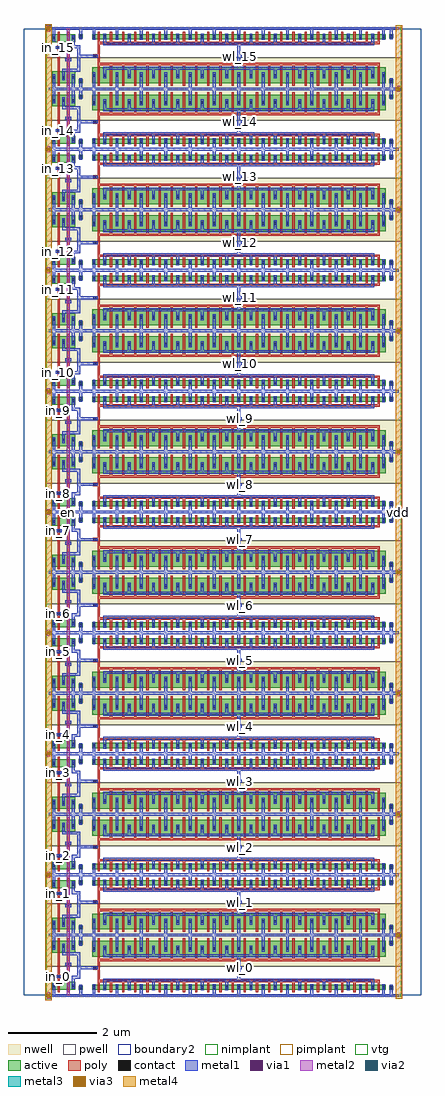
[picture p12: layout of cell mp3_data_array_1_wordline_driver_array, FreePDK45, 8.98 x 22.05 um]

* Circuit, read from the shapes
.subckt mp3_data_array_1_wordline_driver_array en gnd in_0 in_1 in_10 in_11 in_12 in_13 in_14 in_15 in_2 in_3 in_4 in_5 in_6 in_7 in_8 in_9 vdd wl_0 wl_1 wl_10 wl_11 wl_12 wl_13 wl_14 wl_15 wl_2 wl_3 wl_4 wl_5 wl_6 wl_7 wl_8 wl_9
M1 mp3_data_array_1_wordline_driver_0/mp3_data_array_1_pnand2_0/mp3_data_array_1_nmos_m1_w0_180_sm1_dactive_2/D in_0 gnd gnd nfet w=0.18u l=0.05u
M2 mp3_data_array_1_wordline_driver_1/mp3_data_array_1_pnand2_0/mp3_data_array_1_nmos_m1_w0_180_sm1_dactive_2/D in_1 gnd gnd nfet w=0.18u l=0.05u
M3 mp3_data_array_1_wordline_driver_2/mp3_data_array_1_pnand2_0/mp3_data_array_1_nmos_m1_w0_180_sm1_dactive_2/D in_2 gnd gnd nfet w=0.18u l=0.05u
M4 mp3_data_array_1_wordline_driver_3/mp3_data_array_1_pnand2_0/mp3_data_array_1_nmos_m1_w0_180_sm1_dactive_2/D in_3 gnd gnd nfet w=0.18u l=0.05u
M5 mp3_data_array_1_wordline_driver_4/mp3_data_array_1_pnand2_0/mp3_data_array_1_nmos_m1_w0_180_sm1_dactive_2/D in_4 gnd gnd nfet w=0.18u l=0.05u
M6 mp3_data_array_1_wordline_driver_5/mp3_data_array_1_pnand2_0/mp3_data_array_1_nmos_m1_w0_180_sm1_dactive_2/D in_5 gnd gnd nfet w=0.18u l=0.05u
M7 mp3_data_array_1_wordline_driver_6/mp3_data_array_1_pnand2_0/mp3_data_array_1_nmos_m1_w0_180_sm1_dactive_2/D in_6 gnd gnd nfet w=0.18u l=0.05u
M8 mp3_data_array_1_wordline_driver_7/mp3_data_array_1_pnand2_0/mp3_data_array_1_nmos_m1_w0_180_sm1_dactive_2/D in_7 gnd gnd nfet w=0.18u l=0.05u
M9 mp3_data_array_1_wordline_driver_8/mp3_data_array_1_pnand2_0/mp3_data_array_1_nmos_m1_w0_180_sm1_dactive_2/D in_8 gnd gnd nfet w=0.18u l=0.05u
M10 mp3_data_array_1_wordline_driver_9/mp3_data_array_1_pnand2_0/mp3_data_array_1_nmos_m1_w0_180_sm1_dactive_2/D in_9 gnd gnd nfet w=0.18u l=0.05u
M11 mp3_data_array_1_wordline_driver_10/mp3_data_array_1_pnand2_0/mp3_data_array_1_nmos_m1_w0_180_sm1_dactive_2/D in_10 gnd gnd nfet w=0.18u l=0.05u
M12 mp3_data_array_1_wordline_driver_11/mp3_data_array_1_pnand2_0/mp3_data_array_1_nmos_m1_w0_180_sm1_dactive_2/D in_11 gnd gnd nfet w=0.18u l=0.05u
M13 mp3_data_array_1_wordline_driver_12/mp3_data_array_1_pnand2_0/mp3_data_array_1_nmos_m1_w0_180_sm1_dactive_2/D in_12 gnd gnd nfet w=0.18u l=0.05u
M14 mp3_data_array_1_wordline_driver_13/mp3_data_array_1_pnand2_0/mp3_data_array_1_nmos_m1_w0_180_sm1_dactive_2/D in_13 gnd gnd nfet w=0.18u l=0.05u
M15 mp3_data_array_1_wordline_driver_14/mp3_data_array_1_pnand2_0/mp3_data_array_1_nmos_m1_w0_180_sm1_dactive_2/D in_14 gnd gnd nfet w=0.18u l=0.05u
M16 mp3_data_array_1_wordline_driver_15/mp3_data_array_1_pnand2_0/mp3_data_array_1_nmos_m1_w0_180_sm1_dactive_2/D in_15 gnd gnd nfet w=0.18u l=0.05u
M17 mp3_data_array_1_wordline_driver_0/mp3_data_array_1_pinv_0_1/A en mp3_data_array_1_wordline_driver_0/mp3_data_array_1_pnand2_0/mp3_data_array_1_nmos_m1_w0_180_sm1_dactive_2/D gnd nfet w=0.18u l=0.05u
M18 mp3_data_array_1_wordline_driver_1/mp3_data_array_1_pinv_0_1/A en mp3_data_array_1_wordline_driver_1/mp3_data_array_1_pnand2_0/mp3_data_array_1_nmos_m1_w0_180_sm1_dactive_2/D gnd nfet w=0.18u l=0.05u
M19 mp3_data_array_1_wordline_driver_2/mp3_data_array_1_pinv_0_1/A en mp3_data_array_1_wordline_driver_2/mp3_data_array_1_pnand2_0/mp3_data_array_1_nmos_m1_w0_180_sm1_dactive_2/D gnd nfet w=0.18u l=0.05u
M20 mp3_data_array_1_wordline_driver_3/mp3_data_array_1_pinv_0_1/A en mp3_data_array_1_wordline_driver_3/mp3_data_array_1_pnand2_0/mp3_data_array_1_nmos_m1_w0_180_sm1_dactive_2/D gnd nfet w=0.18u l=0.05u
M21 mp3_data_array_1_wordline_driver_4/mp3_data_array_1_pinv_0_1/A en mp3_data_array_1_wordline_driver_4/mp3_data_array_1_pnand2_0/mp3_data_array_1_nmos_m1_w0_180_sm1_dactive_2/D gnd nfet w=0.18u l=0.05u
M22 mp3_data_array_1_wordline_driver_5/mp3_data_array_1_pinv_0_1/A en mp3_data_array_1_wordline_driver_5/mp3_data_array_1_pnand2_0/mp3_data_array_1_nmos_m1_w0_180_sm1_dactive_2/D gnd nfet w=0.18u l=0.05u
M23 mp3_data_array_1_wordline_driver_6/mp3_data_array_1_pinv_0_1/A en mp3_data_array_1_wordline_driver_6/mp3_data_array_1_pnand2_0/mp3_data_array_1_nmos_m1_w0_180_sm1_dactive_2/D gnd nfet w=0.18u l=0.05u
M24 mp3_data_array_1_wordline_driver_7/mp3_data_array_1_pinv_0_1/A en mp3_data_array_1_wordline_driver_7/mp3_data_array_1_pnand2_0/mp3_data_array_1_nmos_m1_w0_180_sm1_dactive_2/D gnd nfet w=0.18u l=0.05u
M25 mp3_data_array_1_wordline_driver_8/mp3_data_array_1_pinv_0_1/A en mp3_data_array_1_wordline_driver_8/mp3_data_array_1_pnand2_0/mp3_data_array_1_nmos_m1_w0_180_sm1_dactive_2/D gnd nfet w=0.18u l=0.05u
M26 mp3_data_array_1_wordline_driver_9/mp3_data_array_1_pinv_0_1/A en mp3_data_array_1_wordline_driver_9/mp3_data_array_1_pnand2_0/mp3_data_array_1_nmos_m1_w0_180_sm1_dactive_2/D gnd nfet w=0.18u l=0.05u
M27 mp3_data_array_1_wordline_driver_10/mp3_data_array_1_pinv_0_1/A en mp3_data_array_1_wordline_driver_10/mp3_data_array_1_pnand2_0/mp3_data_array_1_nmos_m1_w0_180_sm1_dactive_2/D gnd nfet w=0.18u l=0.05u
M28 mp3_data_array_1_wordline_driver_11/mp3_data_array_1_pinv_0_1/A en mp3_data_array_1_wordline_driver_11/mp3_data_array_1_pnand2_0/mp3_data_array_1_nmos_m1_w0_180_sm1_dactive_2/D gnd nfet w=0.18u l=0.05u
M29 mp3_data_array_1_wordline_driver_12/mp3_data_array_1_pinv_0_1/A en mp3_data_array_1_wordline_driver_12/mp3_data_array_1_pnand2_0/mp3_data_array_1_nmos_m1_w0_180_sm1_dactive_2/D gnd nfet w=0.18u l=0.05u
M30 mp3_data_array_1_wordline_driver_13/mp3_data_array_1_pinv_0_1/A en mp3_data_array_1_wordline_driver_13/mp3_data_array_1_pnand2_0/mp3_data_array_1_nmos_m1_w0_180_sm1_dactive_2/D gnd nfet w=0.18u l=0.05u
M31 mp3_data_array_1_wordline_driver_14/mp3_data_array_1_pinv_0_1/A en mp3_data_array_1_wordline_driver_14/mp3_data_array_1_pnand2_0/mp3_data_array_1_nmos_m1_w0_180_sm1_dactive_2/D gnd nfet w=0.18u l=0.05u
M32 mp3_data_array_1_wordline_driver_15/mp3_data_array_1_pinv_0_1/A en mp3_data_array_1_wordline_driver_15/mp3_data_array_1_pnand2_0/mp3_data_array_1_nmos_m1_w0_180_sm1_dactive_2/D gnd nfet w=0.18u l=0.05u
M33 wl_0 mp3_data_array_1_wordline_driver_0/mp3_data_array_1_pinv_0_1/A gnd gnd nfet w=0.12u l=0.05u m=24
M34 wl_1 mp3_data_array_1_wordline_driver_1/mp3_data_array_1_pinv_0_1/A gnd gnd nfet w=0.12u l=0.05u m=24
M35 wl_2 mp3_data_array_1_wordline_driver_2/mp3_data_array_1_pinv_0_1/A gnd gnd nfet w=0.12u l=0.05u m=24
M36 wl_3 mp3_data_array_1_wordline_driver_3/mp3_data_array_1_pinv_0_1/A gnd gnd nfet w=0.12u l=0.05u m=24
M37 wl_4 mp3_data_array_1_wordline_driver_4/mp3_data_array_1_pinv_0_1/A gnd gnd nfet w=0.12u l=0.05u m=24
M38 wl_5 mp3_data_array_1_wordline_driver_5/mp3_data_array_1_pinv_0_1/A gnd gnd nfet w=0.12u l=0.05u m=24
M39 wl_6 mp3_data_array_1_wordline_driver_6/mp3_data_array_1_pinv_0_1/A gnd gnd nfet w=0.12u l=0.05u m=24
M40 wl_7 mp3_data_array_1_wordline_driver_7/mp3_data_array_1_pinv_0_1/A gnd gnd nfet w=0.12u l=0.05u m=24
M41 wl_8 mp3_data_array_1_wordline_driver_8/mp3_data_array_1_pinv_0_1/A gnd gnd nfet w=0.12u l=0.05u m=24
M42 wl_9 mp3_data_array_1_wordline_driver_9/mp3_data_array_1_pinv_0_1/A gnd gnd nfet w=0.12u l=0.05u m=24
M43 wl_10 mp3_data_array_1_wordline_driver_10/mp3_data_array_1_pinv_0_1/A gnd gnd nfet w=0.12u l=0.05u m=24
M44 wl_11 mp3_data_array_1_wordline_driver_11/mp3_data_array_1_pinv_0_1/A gnd gnd nfet w=0.12u l=0.05u m=24
M45 wl_12 mp3_data_array_1_wordline_driver_12/mp3_data_array_1_pinv_0_1/A gnd gnd nfet w=0.12u l=0.05u m=24
M46 wl_13 mp3_data_array_1_wordline_driver_13/mp3_data_array_1_pinv_0_1/A gnd gnd nfet w=0.12u l=0.05u m=24
M47 wl_14 mp3_data_array_1_wordline_driver_14/mp3_data_array_1_pinv_0_1/A gnd gnd nfet w=0.12u l=0.05u m=24
M48 wl_15 mp3_data_array_1_wordline_driver_15/mp3_data_array_1_pinv_0_1/A gnd gnd nfet w=0.12u l=0.05u m=24
M49 mp3_data_array_1_wordline_driver_0/mp3_data_array_1_pinv_0_1/A in_0 vdd vdd pfet w=0.27u l=0.05u
M50 mp3_data_array_1_wordline_driver_1/mp3_data_array_1_pinv_0_1/A in_1 vdd vdd pfet w=0.27u l=0.05u
M51 mp3_data_array_1_wordline_driver_2/mp3_data_array_1_pinv_0_1/A in_2 vdd vdd pfet w=0.27u l=0.05u
M52 mp3_data_array_1_wordline_driver_3/mp3_data_array_1_pinv_0_1/A in_3 vdd vdd pfet w=0.27u l=0.05u
M53 mp3_data_array_1_wordline_driver_4/mp3_data_array_1_pinv_0_1/A in_4 vdd vdd pfet w=0.27u l=0.05u
M54 mp3_data_array_1_wordline_driver_5/mp3_data_array_1_pinv_0_1/A in_5 vdd vdd pfet w=0.27u l=0.05u
M55 mp3_data_array_1_wordline_driver_6/mp3_data_array_1_pinv_0_1/A in_6 vdd vdd pfet w=0.27u l=0.05u
M56 mp3_data_array_1_wordline_driver_7/mp3_data_array_1_pinv_0_1/A in_7 vdd vdd pfet w=0.27u l=0.05u
M57 mp3_data_array_1_wordline_driver_8/mp3_data_array_1_pinv_0_1/A in_8 vdd vdd pfet w=0.27u l=0.05u
M58 mp3_data_array_1_wordline_driver_9/mp3_data_array_1_pinv_0_1/A in_9 vdd vdd pfet w=0.27u l=0.05u
M59 mp3_data_array_1_wordline_driver_10/mp3_data_array_1_pinv_0_1/A in_10 vdd vdd pfet w=0.27u l=0.05u
M60 mp3_data_array_1_wordline_driver_11/mp3_data_array_1_pinv_0_1/A in_11 vdd vdd pfet w=0.27u l=0.05u
M61 mp3_data_array_1_wordline_driver_12/mp3_data_array_1_pinv_0_1/A in_12 vdd vdd pfet w=0.27u l=0.05u
M62 mp3_data_array_1_wordline_driver_13/mp3_data_array_1_pinv_0_1/A in_13 vdd vdd pfet w=0.27u l=0.05u
M63 mp3_data_array_1_wordline_driver_14/mp3_data_array_1_pinv_0_1/A in_14 vdd vdd pfet w=0.27u l=0.05u
M64 mp3_data_array_1_wordline_driver_15/mp3_data_array_1_pinv_0_1/A in_15 vdd vdd pfet w=0.27u l=0.05u
M65 vdd en mp3_data_array_1_wordline_driver_0/mp3_data_array_1_pinv_0_1/A vdd pfet w=0.27u l=0.05u
M66 vdd en mp3_data_array_1_wordline_driver_1/mp3_data_array_1_pinv_0_1/A vdd pfet w=0.27u l=0.05u
M67 vdd en mp3_data_array_1_wordline_driver_2/mp3_data_array_1_pinv_0_1/A vdd pfet w=0.27u l=0.05u
M68 vdd en mp3_data_array_1_wordline_driver_3/mp3_data_array_1_pinv_0_1/A vdd pfet w=0.27u l=0.05u
M69 vdd en mp3_data_array_1_wordline_driver_4/mp3_data_array_1_pinv_0_1/A vdd pfet w=0.27u l=0.05u
M70 vdd en mp3_data_array_1_wordline_driver_5/mp3_data_array_1_pinv_0_1/A vdd pfet w=0.27u l=0.05u
M71 vdd en mp3_data_array_1_wordline_driver_6/mp3_data_array_1_pinv_0_1/A vdd pfet w=0.27u l=0.05u
M72 vdd en mp3_data_array_1_wordline_driver_7/mp3_data_array_1_pinv_0_1/A vdd pfet w=0.27u l=0.05u
M73 vdd en mp3_data_array_1_wordline_driver_8/mp3_data_array_1_pinv_0_1/A vdd pfet w=0.27u l=0.05u
M74 vdd en mp3_data_array_1_wordline_driver_9/mp3_data_array_1_pinv_0_1/A vdd pfet w=0.27u l=0.05u
M75 vdd en mp3_data_array_1_wordline_driver_10/mp3_data_array_1_pinv_0_1/A vdd pfet w=0.27u l=0.05u
M76 vdd en mp3_data_array_1_wordline_driver_11/mp3_data_array_1_pinv_0_1/A vdd pfet w=0.27u l=0.05u
M77 vdd en mp3_data_array_1_wordline_driver_12/mp3_data_array_1_pinv_0_1/A vdd pfet w=0.27u l=0.05u
M78 vdd en mp3_data_array_1_wordline_driver_13/mp3_data_array_1_pinv_0_1/A vdd pfet w=0.27u l=0.05u
M79 vdd en mp3_data_array_1_wordline_driver_14/mp3_data_array_1_pinv_0_1/A vdd pfet w=0.27u l=0.05u
M80 vdd en mp3_data_array_1_wordline_driver_15/mp3_data_array_1_pinv_0_1/A vdd pfet w=0.27u l=0.05u
M81 wl_0 mp3_data_array_1_wordline_driver_0/mp3_data_array_1_pinv_0_1/A vdd vdd pfet w=0.36u l=0.05u m=24
M82 wl_1 mp3_data_array_1_wordline_driver_1/mp3_data_array_1_pinv_0_1/A vdd vdd pfet w=0.36u l=0.05u m=24
M83 wl_2 mp3_data_array_1_wordline_driver_2/mp3_data_array_1_pinv_0_1/A vdd vdd pfet w=0.36u l=0.05u m=24
M84 wl_3 mp3_data_array_1_wordline_driver_3/mp3_data_array_1_pinv_0_1/A vdd vdd pfet w=0.36u l=0.05u m=24
M85 wl_4 mp3_data_array_1_wordline_driver_4/mp3_data_array_1_pinv_0_1/A vdd vdd pfet w=0.36u l=0.05u m=24
M86 wl_5 mp3_data_array_1_wordline_driver_5/mp3_data_array_1_pinv_0_1/A vdd vdd pfet w=0.36u l=0.05u m=24
M87 wl_6 mp3_data_array_1_wordline_driver_6/mp3_data_array_1_pinv_0_1/A vdd vdd pfet w=0.36u l=0.05u m=24
M88 wl_7 mp3_data_array_1_wordline_driver_7/mp3_data_array_1_pinv_0_1/A vdd vdd pfet w=0.36u l=0.05u m=24
M89 wl_8 mp3_data_array_1_wordline_driver_8/mp3_data_array_1_pinv_0_1/A vdd vdd pfet w=0.36u l=0.05u m=24
M90 wl_9 mp3_data_array_1_wordline_driver_9/mp3_data_array_1_pinv_0_1/A vdd vdd pfet w=0.36u l=0.05u m=24
M91 wl_10 mp3_data_array_1_wordline_driver_10/mp3_data_array_1_pinv_0_1/A vdd vdd pfet w=0.36u l=0.05u m=24
M92 wl_11 mp3_data_array_1_wordline_driver_11/mp3_data_array_1_pinv_0_1/A vdd vdd pfet w=0.36u l=0.05u m=24
M93 wl_12 mp3_data_array_1_wordline_driver_12/mp3_data_array_1_pinv_0_1/A vdd vdd pfet w=0.36u l=0.05u m=24
M94 wl_13 mp3_data_array_1_wordline_driver_13/mp3_data_array_1_pinv_0_1/A vdd vdd pfet w=0.36u l=0.05u m=24
M95 wl_14 mp3_data_array_1_wordline_driver_14/mp3_data_array_1_pinv_0_1/A vdd vdd pfet w=0.36u l=0.05u m=24
M96 wl_15 mp3_data_array_1_wordline_driver_15/mp3_data_array_1_pinv_0_1/A vdd vdd pfet w=0.36u l=0.05u m=24
.ends

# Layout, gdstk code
import gdstk
lib = gdstk.Library(unit=1e-6, precision=5e-10)
def R(c, l, rs):  # rectangles x0, y0, x1, y1
    for r in rs: c.add(gdstk.rectangle(r[:2], r[2:], *l))
def A(c, l, x, y, w, h, nx, ny, dx, dy):  # array of equal rectangles
    R(c, l, [(x+i*dx, y+j*dy, x+i*dx+w, y+j*dy+h) for i in range(nx) for j in range(ny)])
active = (1, 0)
pwell = (2, 0)
nwell = (3, 0)
nimplant = (4, 0)
pimplant = (5, 0)
vtg = (6, 0)
poly = (9, 0)
contact = (10, 0)
metal1 = (11, 0)
via1 = (12, 0)
metal2 = (13, 0)
via2 = (14, 0)
metal3 = (15, 0)
via3 = (16, 0)
metal4 = (17, 0)
boundary2 = (239, 0)

mp3_data_array_1_contact = lib.new_cell('mp3_data_array_1_contact_11')
R(mp3_data_array_1_contact, active, [(0,0.0225,0.09,0.1125)])
R(mp3_data_array_1_contact, nwell, [(-0.055,-0.0325,0.145,0.1675)])
R(mp3_data_array_1_contact, pimplant, [(0,0.0225,0.09,0.1125)])
R(mp3_data_array_1_contact, contact, [(0.0125,0.035,0.0775,0.1)])
R(mp3_data_array_1_contact, metal1, [(0.0125,0,0.0775,0.135)])
R(mp3_data_array_1_contact, boundary2, [(-0.055,-0.0325,0.145,0.1675)])

mp3_data_array_1_pmos_m1 = lib.new_cell('mp3_data_array_1_pmos_m1_w0_270_sm1_dm1')
R(mp3_data_array_1_pmos_m1, active, [(0,0,0.305,0.27)])
R(mp3_data_array_1_pmos_m1, nwell, [(-0.08,-0.08,0.385,0.35)])
R(mp3_data_array_1_pmos_m1, pimplant, [(0,0,0.305,0.27)])
R(mp3_data_array_1_pmos_m1, vtg, [(-0.08,-0.08,0.385,0.35)])
R(mp3_data_array_1_pmos_m1, poly, [(0.1275,-0.055,0.1775,0.325), (0.1275,-0.055,0.1775,0.325)])
R(mp3_data_array_1_pmos_m1, metal1, [(0.0125,0.0675,0.0775,0.2025), (0.2275,0.0675,0.2925,0.2025)])
R(mp3_data_array_1_pmos_m1, boundary2, [(-0.08,-0.08,0.385,0.35)])
mp3_data_array_1_pmos_m1.add(gdstk.Reference(mp3_data_array_1_contact, (0,0.0675)))
mp3_data_array_1_pmos_m1.add(gdstk.Reference(mp3_data_array_1_contact, (0.215,0.0675)))
mp3_data_array_1_pmos_m1.add(gdstk.Label('G', (0.1525,0.135), layer=9, texttype=0))
mp3_data_array_1_pmos_m1.add(gdstk.Label('S', (0.045,0.135), layer=11, texttype=0))
mp3_data_array_1_pmos_m1.add(gdstk.Label('D', (0.26,0.135), layer=11, texttype=0))

c_mp3_data_array_1_contact = lib.new_cell('mp3_data_array_1_contact_10')
R(c_mp3_data_array_1_contact, active, [(0,0.0225,0.09,0.1125)])
R(c_mp3_data_array_1_contact, pwell, [(-0.055,-0.0325,0.145,0.1675)])
R(c_mp3_data_array_1_contact, nimplant, [(0,0.0225,0.09,0.1125)])
R(c_mp3_data_array_1_contact, contact, [(0.0125,0.035,0.0775,0.1)])
R(c_mp3_data_array_1_contact, metal1, [(0.0125,0,0.0775,0.135)])
R(c_mp3_data_array_1_contact, boundary2, [(-0.055,-0.0325,0.145,0.1675)])

mp3_data_array_1_nmos_m1 = lib.new_cell('mp3_data_array_1_nmos_m1_w0_180_sm1_dactive')
R(mp3_data_array_1_nmos_m1, active, [(0,0,0.305,0.18), (0.215,0.045,0.305,0.135)])
R(mp3_data_array_1_nmos_m1, pwell, [(-0.08,-0.08,0.385,0.26)])
R(mp3_data_array_1_nmos_m1, nimplant, [(0,0,0.305,0.18)])
R(mp3_data_array_1_nmos_m1, vtg, [(-0.08,-0.08,0.385,0.26)])
R(mp3_data_array_1_nmos_m1, poly, [(0.1275,-0.055,0.1775,0.235), (0.1275,-0.055,0.1775,0.235)])
R(mp3_data_array_1_nmos_m1, metal1, [(0.0125,0.0225,0.0775,0.1575)])
R(mp3_data_array_1_nmos_m1, boundary2, [(-0.08,-0.08,0.385,0.26)])
mp3_data_array_1_nmos_m1.add(gdstk.Reference(c_mp3_data_array_1_contact, (0,0.0225)))
mp3_data_array_1_nmos_m1.add(gdstk.Label('G', (0.1525,0.09), layer=9, texttype=0))
mp3_data_array_1_nmos_m1.add(gdstk.Label('S', (0.045,0.09), layer=11, texttype=0))
mp3_data_array_1_nmos_m1.add(gdstk.Label('D', (0.26,0.09), layer=1, texttype=0))

c_mp3_data_array_1_nmos_m1 = lib.new_cell('mp3_data_array_1_nmos_m1_w0_180_sactive_dm1')
R(c_mp3_data_array_1_nmos_m1, active, [(0,0,0.305,0.18), (0,0.045,0.09,0.135)])
R(c_mp3_data_array_1_nmos_m1, pwell, [(-0.08,-0.08,0.385,0.26)])
R(c_mp3_data_array_1_nmos_m1, nimplant, [(0,0,0.305,0.18)])
R(c_mp3_data_array_1_nmos_m1, vtg, [(-0.08,-0.08,0.385,0.26)])
R(c_mp3_data_array_1_nmos_m1, poly, [(0.1275,-0.055,0.1775,0.235), (0.1275,-0.055,0.1775,0.235)])
R(c_mp3_data_array_1_nmos_m1, metal1, [(0.2275,0.0225,0.2925,0.1575)])
R(c_mp3_data_array_1_nmos_m1, boundary2, [(-0.08,-0.08,0.385,0.26)])
c_mp3_data_array_1_nmos_m1.add(gdstk.Reference(c_mp3_data_array_1_contact, (0.215,0.0225)))
c_mp3_data_array_1_nmos_m1.add(gdstk.Label('G', (0.1525,0.09), layer=9, texttype=0))
c_mp3_data_array_1_nmos_m1.add(gdstk.Label('S', (0.045,0.09), layer=1, texttype=0))
c_mp3_data_array_1_nmos_m1.add(gdstk.Label('D', (0.26,0.09), layer=11, texttype=0))

c_mp3_data_array_1_contact_ = lib.new_cell('mp3_data_array_1_contact_12')
R(c_mp3_data_array_1_contact_, active, [(0,0.0225,0.09,0.1125)])
R(c_mp3_data_array_1_contact_, nwell, [(-0.055,-0.0325,0.145,0.1675)])
R(c_mp3_data_array_1_contact_, nimplant, [(0,0.0225,0.09,0.1125)])
R(c_mp3_data_array_1_contact_, contact, [(0.0125,0.035,0.0775,0.1)])
R(c_mp3_data_array_1_contact_, metal1, [(0.0125,0,0.0775,0.135)])
R(c_mp3_data_array_1_contact_, boundary2, [(-0.055,-0.0325,0.145,0.1675)])

c_mp3_data_array_1_contact__ = lib.new_cell('mp3_data_array_1_contact_13')
R(c_mp3_data_array_1_contact__, active, [(0,0.0225,0.09,0.1125)])
R(c_mp3_data_array_1_contact__, pwell, [(-0.055,-0.0325,0.145,0.1675)])
R(c_mp3_data_array_1_contact__, pimplant, [(0,0.0225,0.09,0.1125)])
R(c_mp3_data_array_1_contact__, contact, [(0.0125,0.035,0.0775,0.1)])
R(c_mp3_data_array_1_contact__, metal1, [(0.0125,0,0.0775,0.135)])
R(c_mp3_data_array_1_contact__, boundary2, [(-0.055,-0.0325,0.145,0.1675)])

c_mp3_data_array_1_contact___ = lib.new_cell('mp3_data_array_1_contact_14')
R(c_mp3_data_array_1_contact___, poly, [(0.03,0,0.105,0.075)])
R(c_mp3_data_array_1_contact___, contact, [(0.035,0.005,0.1,0.07)])
R(c_mp3_data_array_1_contact___, metal1, [(0,0.005,0.135,0.07)])
R(c_mp3_data_array_1_contact___, boundary2, [(0,0,0.135,0.075)])

mp3_data_array_1_pnand2 = lib.new_cell('mp3_data_array_1_pnand2')
R(mp3_data_array_1_pnand2, pwell, [(-0.055,-0.0325,0.9575,0.655)])
R(mp3_data_array_1_pnand2, nwell, [(-0.055,0.655,0.9575,1.4)])
R(mp3_data_array_1_pnand2, vtg, [(-0.055,-0.0325,0.9575,0.655), (-0.055,0.655,0.9575,1.4)])
R(mp3_data_array_1_pnand2, poly, [(0.2075,0.36,0.2575,0.915), (0.4225,0.36,0.4725,0.915), (0.2075,0.39,0.2325,0.465), (0.4225,0.67,0.4475,0.745)])
R(mp3_data_array_1_pnand2, metal1, [(0,-0.0325,0.9025,0.0325), (0.0925,-0.0325,0.1575,0.1475), (0.6925,0,0.7575,0.17), (0.5225,0.2825,0.5875,0.4125), (0.5225,0.38,0.5875,0.445), (0.555,0.38,0.685,0.445), (0.6525,0.38,0.7175,0.445), (0.165,0.395,0.3,0.46), (0.6525,0.4125,0.7175,0.94), (0.38,0.675,0.515,0.74), (0.3075,0.9075,0.3725,0.9725), (0.34,0.9075,0.685,0.9725), (0.6525,0.9075,0.7175,0.9725), (0.3075,0.94,0.3725,1.0375), (0.0925,1.0375,0.1575,1.3975), (0.5225,1.0375,0.5875,1.3975), (0.6925,1.195,0.7575,1.365), (0,1.3325,0.9025,1.3975)])
R(mp3_data_array_1_pnand2, boundary2, [(0,0,0.9025,1.365), (0,0,0.9025,1.365)])
mp3_data_array_1_pnand2.add(gdstk.Reference(mp3_data_array_1_pmos_m1, (0.08,0.97)))
mp3_data_array_1_pnand2.add(gdstk.Reference(mp3_data_array_1_pmos_m1, (0.295,0.97)))
mp3_data_array_1_pnand2.add(gdstk.Reference(mp3_data_array_1_nmos_m1, (0.08,0.125)))
mp3_data_array_1_pnand2.add(gdstk.Reference(c_mp3_data_array_1_nmos_m1, (0.295,0.125)))
mp3_data_array_1_pnand2.add(gdstk.Reference(c_mp3_data_array_1_contact_, (0.68,1.1275)))
mp3_data_array_1_pnand2.add(gdstk.Reference(c_mp3_data_array_1_contact__, (0.68,0.1025)))
mp3_data_array_1_pnand2.add(gdstk.Reference(c_mp3_data_array_1_contact___, (0.165,0.39)))
mp3_data_array_1_pnand2.add(gdstk.Reference(c_mp3_data_array_1_contact___, (0.38,0.67)))
mp3_data_array_1_pnand2.add(gdstk.Label('Z', (0.685,0.94), layer=11, texttype=0))
mp3_data_array_1_pnand2.add(gdstk.Label('gnd', (0.451,0), layer=11, texttype=0))
mp3_data_array_1_pnand2.add(gdstk.Label('vdd', (0.451,1.365), layer=11, texttype=0))
mp3_data_array_1_pnand2.add(gdstk.Label('A', (0.2325,0.4275), layer=11, texttype=0))
mp3_data_array_1_pnand2.add(gdstk.Label('B', (0.4475,0.7075), layer=11, texttype=0))

mp3_data_array_1_pmos_m2 = lib.new_cell('mp3_data_array_1_pmos_m24_w0_360_sm1_dm1_da_p')
R(mp3_data_array_1_pmos_m2, active, [(0,0,6.63,0.36)])
R(mp3_data_array_1_pmos_m2, nwell, [(-0.08,-0.08,6.71,0.44)])
R(mp3_data_array_1_pmos_m2, pimplant, [(0,0,6.63,0.36)])
R(mp3_data_array_1_pmos_m2, vtg, [(-0.08,-0.08,6.71,0.44)])
A(mp3_data_array_1_pmos_m2, poly, 0.1275, -0.055, 0.05, 0.47, 24, 1, 0.275, 0)
R(mp3_data_array_1_pmos_m2, poly, [(0.1275,-0.105,6.5025,-0.055)])
A(mp3_data_array_1_pmos_m2, metal1, 0.2575, 0.015, 0.065, 0.165, 12, 1, 0.55, 0)
A(mp3_data_array_1_pmos_m2, metal1, 0.5325, 0.1125, 0.065, 0.135, 11, 1, 0.55, 0)
R(mp3_data_array_1_pmos_m2, metal1, [(0.2575,-0.0175,6.3725,0.0475), (0.0125,0.1125,0.0775,0.2475), (6.5525,0.1125,6.6175,0.2475)])
R(mp3_data_array_1_pmos_m2, boundary2, [(-0.08,-0.105,6.71,0.44)])
mp3_data_array_1_pmos_m2.add(gdstk.Reference(mp3_data_array_1_contact, (0,0.1125)))
mp3_data_array_1_pmos_m2.add(gdstk.Reference(mp3_data_array_1_contact, (0.245,0.1125)))
mp3_data_array_1_pmos_m2.add(gdstk.Reference(mp3_data_array_1_contact, (0.52,0.1125)))
mp3_data_array_1_pmos_m2.add(gdstk.Reference(mp3_data_array_1_contact, (0.795,0.1125)))
mp3_data_array_1_pmos_m2.add(gdstk.Reference(mp3_data_array_1_contact, (1.07,0.1125)))
mp3_data_array_1_pmos_m2.add(gdstk.Reference(mp3_data_array_1_contact, (1.345,0.1125)))
mp3_data_array_1_pmos_m2.add(gdstk.Reference(mp3_data_array_1_contact, (1.62,0.1125)))
mp3_data_array_1_pmos_m2.add(gdstk.Reference(mp3_data_array_1_contact, (1.895,0.1125)))
mp3_data_array_1_pmos_m2.add(gdstk.Reference(mp3_data_array_1_contact, (2.17,0.1125)))
mp3_data_array_1_pmos_m2.add(gdstk.Reference(mp3_data_array_1_contact, (2.445,0.1125)))
mp3_data_array_1_pmos_m2.add(gdstk.Reference(mp3_data_array_1_contact, (2.72,0.1125)))
mp3_data_array_1_pmos_m2.add(gdstk.Reference(mp3_data_array_1_contact, (2.995,0.1125)))
mp3_data_array_1_pmos_m2.add(gdstk.Reference(mp3_data_array_1_contact, (3.27,0.1125)))
mp3_data_array_1_pmos_m2.add(gdstk.Reference(mp3_data_array_1_contact, (3.545,0.1125)))
mp3_data_array_1_pmos_m2.add(gdstk.Reference(mp3_data_array_1_contact, (3.82,0.1125)))
mp3_data_array_1_pmos_m2.add(gdstk.Reference(mp3_data_array_1_contact, (4.095,0.1125)))
mp3_data_array_1_pmos_m2.add(gdstk.Reference(mp3_data_array_1_contact, (4.37,0.1125)))
mp3_data_array_1_pmos_m2.add(gdstk.Reference(mp3_data_array_1_contact, (4.645,0.1125)))
mp3_data_array_1_pmos_m2.add(gdstk.Reference(mp3_data_array_1_contact, (4.92,0.1125)))
mp3_data_array_1_pmos_m2.add(gdstk.Reference(mp3_data_array_1_contact, (5.195,0.1125)))
mp3_data_array_1_pmos_m2.add(gdstk.Reference(mp3_data_array_1_contact, (5.47,0.1125)))
mp3_data_array_1_pmos_m2.add(gdstk.Reference(mp3_data_array_1_contact, (5.745,0.1125)))
mp3_data_array_1_pmos_m2.add(gdstk.Reference(mp3_data_array_1_contact, (6.02,0.1125)))
mp3_data_array_1_pmos_m2.add(gdstk.Reference(mp3_data_array_1_contact, (6.295,0.1125)))
mp3_data_array_1_pmos_m2.add(gdstk.Reference(mp3_data_array_1_contact, (6.54,0.1125)))
mp3_data_array_1_pmos_m2.add(gdstk.Label('G', (3.315,-0.08), layer=9, texttype=0))
mp3_data_array_1_pmos_m2.add(gdstk.Label('S', (3.315,0.18), layer=11, texttype=0))
mp3_data_array_1_pmos_m2.add(gdstk.Label('S', (6.065,0.18), layer=11, texttype=0))
mp3_data_array_1_pmos_m2.add(gdstk.Label('S', (6.585,0.18), layer=11, texttype=0))
mp3_data_array_1_pmos_m2.add(gdstk.Label('S', (1.665,0.18), layer=11, texttype=0))
mp3_data_array_1_pmos_m2.add(gdstk.Label('S', (4.415,0.18), layer=11, texttype=0))
mp3_data_array_1_pmos_m2.add(gdstk.Label('S', (1.115,0.18), layer=11, texttype=0))
mp3_data_array_1_pmos_m2.add(gdstk.Label('S', (0.565,0.18), layer=11, texttype=0))
mp3_data_array_1_pmos_m2.add(gdstk.Label('S', (3.865,0.18), layer=11, texttype=0))
mp3_data_array_1_pmos_m2.add(gdstk.Label('S', (5.515,0.18), layer=11, texttype=0))
mp3_data_array_1_pmos_m2.add(gdstk.Label('S', (4.965,0.18), layer=11, texttype=0))
mp3_data_array_1_pmos_m2.add(gdstk.Label('S', (2.215,0.18), layer=11, texttype=0))
mp3_data_array_1_pmos_m2.add(gdstk.Label('S', (2.765,0.18), layer=11, texttype=0))
mp3_data_array_1_pmos_m2.add(gdstk.Label('S', (0.045,0.18), layer=11, texttype=0))
mp3_data_array_1_pmos_m2.add(gdstk.Label('D', (3.315,0.015), layer=11, texttype=0))

mp3_data_array_1_nmos_m2 = lib.new_cell('mp3_data_array_1_nmos_m24_w0_120_sm1_dm1_da_p')
R(mp3_data_array_1_nmos_m2, active, [(0,0,6.63,0.12)])
R(mp3_data_array_1_nmos_m2, pwell, [(-0.08,-0.08,6.71,0.2)])
R(mp3_data_array_1_nmos_m2, nimplant, [(0,0,6.63,0.12)])
R(mp3_data_array_1_nmos_m2, vtg, [(-0.08,-0.08,6.71,0.2)])
A(mp3_data_array_1_nmos_m2, poly, 0.1275, -0.055, 0.05, 0.23, 24, 1, 0.275, 0)
R(mp3_data_array_1_nmos_m2, poly, [(0.1275,0.175,6.5025,0.225)])
A(mp3_data_array_1_nmos_m2, metal1, 0.5325, -0.0075, 0.065, 0.135, 11, 1, 0.55, 0)
A(mp3_data_array_1_nmos_m2, metal1, 0.2575, 0.06, 0.065, 0.165, 12, 1, 0.55, 0)
R(mp3_data_array_1_nmos_m2, metal1, [(0.0125,-0.0075,0.0775,0.1275), (6.5525,-0.0075,6.6175,0.1275), (0.2575,0.1925,6.3725,0.2575)])
R(mp3_data_array_1_nmos_m2, boundary2, [(-0.08,-0.08,6.71,0.2575)])
mp3_data_array_1_nmos_m2.add(gdstk.Reference(c_mp3_data_array_1_contact, (0,-0.0075)))
mp3_data_array_1_nmos_m2.add(gdstk.Reference(c_mp3_data_array_1_contact, (0.245,-0.0075)))
mp3_data_array_1_nmos_m2.add(gdstk.Reference(c_mp3_data_array_1_contact, (0.52,-0.0075)))
mp3_data_array_1_nmos_m2.add(gdstk.Reference(c_mp3_data_array_1_contact, (0.795,-0.0075)))
mp3_data_array_1_nmos_m2.add(gdstk.Reference(c_mp3_data_array_1_contact, (1.07,-0.0075)))
mp3_data_array_1_nmos_m2.add(gdstk.Reference(c_mp3_data_array_1_contact, (1.345,-0.0075)))
mp3_data_array_1_nmos_m2.add(gdstk.Reference(c_mp3_data_array_1_contact, (1.62,-0.0075)))
mp3_data_array_1_nmos_m2.add(gdstk.Reference(c_mp3_data_array_1_contact, (1.895,-0.0075)))
mp3_data_array_1_nmos_m2.add(gdstk.Reference(c_mp3_data_array_1_contact, (2.17,-0.0075)))
mp3_data_array_1_nmos_m2.add(gdstk.Reference(c_mp3_data_array_1_contact, (2.445,-0.0075)))
mp3_data_array_1_nmos_m2.add(gdstk.Reference(c_mp3_data_array_1_contact, (2.72,-0.0075)))
mp3_data_array_1_nmos_m2.add(gdstk.Reference(c_mp3_data_array_1_contact, (2.995,-0.0075)))
mp3_data_array_1_nmos_m2.add(gdstk.Reference(c_mp3_data_array_1_contact, (3.27,-0.0075)))
mp3_data_array_1_nmos_m2.add(gdstk.Reference(c_mp3_data_array_1_contact, (3.545,-0.0075)))
mp3_data_array_1_nmos_m2.add(gdstk.Reference(c_mp3_data_array_1_contact, (3.82,-0.0075)))
mp3_data_array_1_nmos_m2.add(gdstk.Reference(c_mp3_data_array_1_contact, (4.095,-0.0075)))
mp3_data_array_1_nmos_m2.add(gdstk.Reference(c_mp3_data_array_1_contact, (4.37,-0.0075)))
mp3_data_array_1_nmos_m2.add(gdstk.Reference(c_mp3_data_array_1_contact, (4.645,-0.0075)))
mp3_data_array_1_nmos_m2.add(gdstk.Reference(c_mp3_data_array_1_contact, (4.92,-0.0075)))
mp3_data_array_1_nmos_m2.add(gdstk.Reference(c_mp3_data_array_1_contact, (5.195,-0.0075)))
mp3_data_array_1_nmos_m2.add(gdstk.Reference(c_mp3_data_array_1_contact, (5.47,-0.0075)))
mp3_data_array_1_nmos_m2.add(gdstk.Reference(c_mp3_data_array_1_contact, (5.745,-0.0075)))
mp3_data_array_1_nmos_m2.add(gdstk.Reference(c_mp3_data_array_1_contact, (6.02,-0.0075)))
mp3_data_array_1_nmos_m2.add(gdstk.Reference(c_mp3_data_array_1_contact, (6.295,-0.0075)))
mp3_data_array_1_nmos_m2.add(gdstk.Reference(c_mp3_data_array_1_contact, (6.54,-0.0075)))
mp3_data_array_1_nmos_m2.add(gdstk.Label('G', (3.315,0.2), layer=9, texttype=0))
mp3_data_array_1_nmos_m2.add(gdstk.Label('S', (6.585,0.06), layer=11, texttype=0))
mp3_data_array_1_nmos_m2.add(gdstk.Label('S', (2.215,0.06), layer=11, texttype=0))
mp3_data_array_1_nmos_m2.add(gdstk.Label('S', (2.765,0.06), layer=11, texttype=0))
mp3_data_array_1_nmos_m2.add(gdstk.Label('S', (3.865,0.06), layer=11, texttype=0))
mp3_data_array_1_nmos_m2.add(gdstk.Label('S', (4.415,0.06), layer=11, texttype=0))
mp3_data_array_1_nmos_m2.add(gdstk.Label('S', (4.965,0.06), layer=11, texttype=0))
mp3_data_array_1_nmos_m2.add(gdstk.Label('S', (1.665,0.06), layer=11, texttype=0))
mp3_data_array_1_nmos_m2.add(gdstk.Label('S', (0.565,0.06), layer=11, texttype=0))
mp3_data_array_1_nmos_m2.add(gdstk.Label('S', (3.315,0.06), layer=11, texttype=0))
mp3_data_array_1_nmos_m2.add(gdstk.Label('S', (0.045,0.06), layer=11, texttype=0))
mp3_data_array_1_nmos_m2.add(gdstk.Label('S', (5.515,0.06), layer=11, texttype=0))
mp3_data_array_1_nmos_m2.add(gdstk.Label('S', (1.115,0.06), layer=11, texttype=0))
mp3_data_array_1_nmos_m2.add(gdstk.Label('S', (6.065,0.06), layer=11, texttype=0))
mp3_data_array_1_nmos_m2.add(gdstk.Label('D', (3.315,0.225), layer=11, texttype=0))

mp3_data_array_1_pinv_0 = lib.new_cell('mp3_data_array_1_pinv_0')
R(mp3_data_array_1_pinv_0, pwell, [(-0.055,-0.0325,7.0675,0.655)])
R(mp3_data_array_1_pinv_0, nwell, [(-0.055,0.655,7.0675,1.4)])
R(mp3_data_array_1_pinv_0, vtg, [(-0.055,-0.0325,7.0675,0.655), (-0.055,0.655,7.0675,1.4)])
R(mp3_data_array_1_pinv_0, poly, [(0.2075,0.35,0.2575,0.775), (0.14,0.585,0.2075,0.66)])
A(mp3_data_array_1_pinv_0, metal1, 0.6125, -0.0325, 0.065, 0.15, 11, 1, 0.55, 0)
A(mp3_data_array_1_pinv_0, metal1, 0.6125, 0.9925, 0.065, 0.405, 11, 1, 0.55, 0)
R(mp3_data_array_1_pinv_0, metal1, [(0,-0.0325,7.0125,0.0325), (0.0925,-0.0325,0.1575,0.1175), (6.6325,-0.0325,6.6975,0.1175), (6.8025,0,6.8675,0.17), (3.3625,0.3175,3.4275,0.9275), (0.0725,0.59,0.2075,0.655), (3.395,0.59,3.46,0.655), (0.0925,0.9925,0.1575,1.3975), (6.6325,0.9925,6.6975,1.3975), (6.8025,1.195,6.8675,1.365), (0,1.3325,7.0125,1.3975)])
R(mp3_data_array_1_pinv_0, boundary2, [(0,0,7.0125,1.365), (0,0,7.0125,1.365)])
mp3_data_array_1_pinv_0.add(gdstk.Reference(mp3_data_array_1_pmos_m2, (0.08,0.88)))
mp3_data_array_1_pinv_0.add(gdstk.Reference(mp3_data_array_1_nmos_m2, (0.08,0.125)))
mp3_data_array_1_pinv_0.add(gdstk.Reference(c_mp3_data_array_1_contact_, (6.79,1.1275)))
mp3_data_array_1_pinv_0.add(gdstk.Reference(c_mp3_data_array_1_contact__, (6.79,0.1025)))
mp3_data_array_1_pinv_0.add(gdstk.Reference(c_mp3_data_array_1_contact___, (0.0725,0.585)))
mp3_data_array_1_pinv_0.add(gdstk.Label('A', (0.14,0.6225), layer=11, texttype=0))
mp3_data_array_1_pinv_0.add(gdstk.Label('Z', (3.4275,0.6225), layer=11, texttype=0))
mp3_data_array_1_pinv_0.add(gdstk.Label('gnd', (3.506,0), layer=11, texttype=0))
mp3_data_array_1_pinv_0.add(gdstk.Label('vdd', (3.506,1.365), layer=11, texttype=0))

mp3_data_array_1_wordlin = lib.new_cell('mp3_data_array_1_wordline_driver')
R(mp3_data_array_1_wordlin, metal1, [(0,-0.0325,7.915,0.0325), (0.165,0.395,0.3,0.46), (0.6525,0.59,0.7175,0.655), (0.685,0.59,1.0425,0.655), (4.2975,0.59,4.3625,0.655), (0.6525,0.6225,0.7175,0.94), (0.38,0.675,0.515,0.74), (0,1.3325,7.915,1.3975)])
R(mp3_data_array_1_wordlin, boundary2, [(0,0,7.915,1.365)])
mp3_data_array_1_wordlin.add(gdstk.Reference(mp3_data_array_1_pnand2, (0,0)))
mp3_data_array_1_wordlin.add(gdstk.Reference(mp3_data_array_1_pinv_0, (0.9025,0)))
mp3_data_array_1_wordlin.add(gdstk.Label('Z', (4.33,0.6225), layer=11, texttype=0))
mp3_data_array_1_wordlin.add(gdstk.Label('A', (0.2325,0.4275), layer=11, texttype=0))
mp3_data_array_1_wordlin.add(gdstk.Label('B', (0.4475,0.7075), layer=11, texttype=0))
mp3_data_array_1_wordlin.add(gdstk.Label('gnd', (3.9575,0), layer=11, texttype=0))
mp3_data_array_1_wordlin.add(gdstk.Label('vdd', (3.9575,1.365), layer=11, texttype=0))

c_mp3_data_array_1_contact____ = lib.new_cell('mp3_data_array_1_contact_17')
R(c_mp3_data_array_1_contact____, metal1, [(0,0.035,0.135,0.1)])
R(c_mp3_data_array_1_contact____, via1, [(0.035,0.035,0.1,0.1)])
R(c_mp3_data_array_1_contact____, metal2, [(0.0325,0,0.1025,0.135)])
R(c_mp3_data_array_1_contact____, boundary2, [(0,0,0.135,0.135)])

c_mp3_data_array_1_contact_____ = lib.new_cell('mp3_data_array_1_contact_18')
R(c_mp3_data_array_1_contact_____, metal2, [(0.0325,0,0.1025,0.135)])
R(c_mp3_data_array_1_contact_____, via2, [(0.035,0.035,0.1,0.1)])
R(c_mp3_data_array_1_contact_____, metal3, [(0,0.0325,0.135,0.1025)])
R(c_mp3_data_array_1_contact_____, boundary2, [(0,0,0.135,0.135)])

c_mp3_data_array_1_contact______ = lib.new_cell('mp3_data_array_1_contact_21')
R(c_mp3_data_array_1_contact______, metal3, [(0,0.035,0.14,0.105)])
R(c_mp3_data_array_1_contact______, via3, [(0.035,0.035,0.105,0.105)])
R(c_mp3_data_array_1_contact______, metal4, [(0,0,0.14,0.14)])
R(c_mp3_data_array_1_contact______, boundary2, [(0,0,0.14,0.14)])

c_mp3_data_array_1_wordlin = lib.new_cell('mp3_data_array_1_wordline_driver_array')
R(c_mp3_data_array_1_wordlin, metal1, [(0.725,0.395,0.86,0.46), (4.8575,0.59,4.9225,0.655), (4.8575,2.075,4.9225,2.14), (0.725,2.27,0.86,2.335), (0.725,3.125,0.86,3.19), (4.8575,3.32,4.9225,3.385), (4.8575,4.805,4.9225,4.87), (0.725,5,0.86,5.065), (0.725,5.855,0.86,5.92), (4.8575,6.05,4.9225,6.115), (4.8575,7.535,4.9225,7.6), (0.725,7.73,0.86,7.795), (0.725,8.585,0.86,8.65), (4.8575,8.78,4.9225,8.845), (4.8575,10.265,4.9225,10.33), (0.725,10.46,0.86,10.525), (0.725,11.315,0.86,11.38), (4.8575,11.51,4.9225,11.575), (4.8575,12.995,4.9225,13.06), (0.725,13.19,0.86,13.255), (0.725,14.045,0.86,14.11), (4.8575,14.24,4.9225,14.305), (4.8575,15.725,4.9225,15.79), (0.725,15.92,0.86,15.985), (0.725,16.775,0.86,16.84), (4.8575,16.97,4.9225,17.035), (4.8575,18.455,4.9225,18.52), (0.725,18.65,0.86,18.715), (0.725,19.505,0.86,19.57), (4.8575,19.7,4.9225,19.765), (4.8575,21.185,4.9225,21.25), (0.725,21.38,0.86,21.445)])
R(c_mp3_data_array_1_wordlin, metal2, [(0.9725,0,1.0425,21.84)])
R(c_mp3_data_array_1_wordlin, metal4, [(0.49,-0.1025,0.63,21.9425), (8.405,-0.07,8.545,21.91)])
R(c_mp3_data_array_1_wordlin, boundary2, [(0,0,8.98,21.84)])
c_mp3_data_array_1_wordlin.add(gdstk.Reference(mp3_data_array_1_wordlin, (0.56,0)))
c_mp3_data_array_1_wordlin.add(gdstk.Reference(mp3_data_array_1_wordlin, (0.56,2.73), x_reflection=True))
c_mp3_data_array_1_wordlin.add(gdstk.Reference(mp3_data_array_1_wordlin, (0.56,2.73)))
c_mp3_data_array_1_wordlin.add(gdstk.Reference(mp3_data_array_1_wordlin, (0.56,5.46), x_reflection=True))
c_mp3_data_array_1_wordlin.add(gdstk.Reference(mp3_data_array_1_wordlin, (0.56,5.46)))
c_mp3_data_array_1_wordlin.add(gdstk.Reference(mp3_data_array_1_wordlin, (0.56,8.19), x_reflection=True))
c_mp3_data_array_1_wordlin.add(gdstk.Reference(mp3_data_array_1_wordlin, (0.56,8.19)))
c_mp3_data_array_1_wordlin.add(gdstk.Reference(mp3_data_array_1_wordlin, (0.56,10.92), x_reflection=True))
c_mp3_data_array_1_wordlin.add(gdstk.Reference(mp3_data_array_1_wordlin, (0.56,10.92)))
c_mp3_data_array_1_wordlin.add(gdstk.Reference(mp3_data_array_1_wordlin, (0.56,13.65), x_reflection=True))
c_mp3_data_array_1_wordlin.add(gdstk.Reference(mp3_data_array_1_wordlin, (0.56,13.65)))
c_mp3_data_array_1_wordlin.add(gdstk.Reference(mp3_data_array_1_wordlin, (0.56,16.38), x_reflection=True))
c_mp3_data_array_1_wordlin.add(gdstk.Reference(mp3_data_array_1_wordlin, (0.56,16.38)))
c_mp3_data_array_1_wordlin.add(gdstk.Reference(mp3_data_array_1_wordlin, (0.56,19.11), x_reflection=True))
c_mp3_data_array_1_wordlin.add(gdstk.Reference(mp3_data_array_1_wordlin, (0.56,19.11)))
c_mp3_data_array_1_wordlin.add(gdstk.Reference(mp3_data_array_1_wordlin, (0.56,21.84), x_reflection=True))
c_mp3_data_array_1_wordlin.add(gdstk.Reference(c_mp3_data_array_1_contact____, (0.94,0.64)))
c_mp3_data_array_1_wordlin.add(gdstk.Reference(c_mp3_data_array_1_contact____, (0.94,1.955)))
c_mp3_data_array_1_wordlin.add(gdstk.Reference(c_mp3_data_array_1_contact____, (0.94,3.37)))
c_mp3_data_array_1_wordlin.add(gdstk.Reference(c_mp3_data_array_1_contact____, (0.94,4.685)))
c_mp3_data_array_1_wordlin.add(gdstk.Reference(c_mp3_data_array_1_contact____, (0.94,6.1)))
c_mp3_data_array_1_wordlin.add(gdstk.Reference(c_mp3_data_array_1_contact____, (0.94,7.415)))
c_mp3_data_array_1_wordlin.add(gdstk.Reference(c_mp3_data_array_1_contact____, (0.94,8.83)))
c_mp3_data_array_1_wordlin.add(gdstk.Reference(c_mp3_data_array_1_contact____, (0.94,10.145)))
c_mp3_data_array_1_wordlin.add(gdstk.Reference(c_mp3_data_array_1_contact____, (0.94,11.56)))
c_mp3_data_array_1_wordlin.add(gdstk.Reference(c_mp3_data_array_1_contact____, (0.94,12.875)))
c_mp3_data_array_1_wordlin.add(gdstk.Reference(c_mp3_data_array_1_contact____, (0.94,14.29)))
c_mp3_data_array_1_wordlin.add(gdstk.Reference(c_mp3_data_array_1_contact____, (0.94,15.605)))
c_mp3_data_array_1_wordlin.add(gdstk.Reference(c_mp3_data_array_1_contact____, (0.94,17.02)))
c_mp3_data_array_1_wordlin.add(gdstk.Reference(c_mp3_data_array_1_contact____, (0.94,18.335)))
c_mp3_data_array_1_wordlin.add(gdstk.Reference(c_mp3_data_array_1_contact____, (0.94,19.75)))
c_mp3_data_array_1_wordlin.add(gdstk.Reference(c_mp3_data_array_1_contact____, (0.94,21.065)))
c_mp3_data_array_1_wordlin.add(gdstk.Reference(c_mp3_data_array_1_contact____, (8.4075,1.2975)))
c_mp3_data_array_1_wordlin.add(gdstk.Reference(c_mp3_data_array_1_contact_____, (8.4075,1.2975)))
c_mp3_data_array_1_wordlin.add(gdstk.Reference(c_mp3_data_array_1_contact______, (8.405,1.295)))
c_mp3_data_array_1_wordlin.add(gdstk.Reference(c_mp3_data_array_1_contact____, (8.4075,1.2975)))
c_mp3_data_array_1_wordlin.add(gdstk.Reference(c_mp3_data_array_1_contact_____, (8.4075,1.2975)))
c_mp3_data_array_1_wordlin.add(gdstk.Reference(c_mp3_data_array_1_contact______, (8.405,1.295)))
c_mp3_data_array_1_wordlin.add(gdstk.Reference(c_mp3_data_array_1_contact____, (8.4075,4.0275)))
c_mp3_data_array_1_wordlin.add(gdstk.Reference(c_mp3_data_array_1_contact_____, (8.4075,4.0275)))
c_mp3_data_array_1_wordlin.add(gdstk.Reference(c_mp3_data_array_1_contact______, (8.405,4.025)))
c_mp3_data_array_1_wordlin.add(gdstk.Reference(c_mp3_data_array_1_contact____, (8.4075,4.0275)))
c_mp3_data_array_1_wordlin.add(gdstk.Reference(c_mp3_data_array_1_contact_____, (8.4075,4.0275)))
c_mp3_data_array_1_wordlin.add(gdstk.Reference(c_mp3_data_array_1_contact______, (8.405,4.025)))
c_mp3_data_array_1_wordlin.add(gdstk.Reference(c_mp3_data_array_1_contact____, (8.4075,6.7575)))
c_mp3_data_array_1_wordlin.add(gdstk.Reference(c_mp3_data_array_1_contact_____, (8.4075,6.7575)))
c_mp3_data_array_1_wordlin.add(gdstk.Reference(c_mp3_data_array_1_contact______, (8.405,6.755)))
c_mp3_data_array_1_wordlin.add(gdstk.Reference(c_mp3_data_array_1_contact____, (8.4075,6.7575)))
c_mp3_data_array_1_wordlin.add(gdstk.Reference(c_mp3_data_array_1_contact_____, (8.4075,6.7575)))
c_mp3_data_array_1_wordlin.add(gdstk.Reference(c_mp3_data_array_1_contact______, (8.405,6.755)))
c_mp3_data_array_1_wordlin.add(gdstk.Reference(c_mp3_data_array_1_contact____, (8.4075,9.4875)))
c_mp3_data_array_1_wordlin.add(gdstk.Reference(c_mp3_data_array_1_contact_____, (8.4075,9.4875)))
c_mp3_data_array_1_wordlin.add(gdstk.Reference(c_mp3_data_array_1_contact______, (8.405,9.485)))
c_mp3_data_array_1_wordlin.add(gdstk.Reference(c_mp3_data_array_1_contact____, (8.4075,9.4875)))
c_mp3_data_array_1_wordlin.add(gdstk.Reference(c_mp3_data_array_1_contact_____, (8.4075,9.4875)))
c_mp3_data_array_1_wordlin.add(gdstk.Reference(c_mp3_data_array_1_contact______, (8.405,9.485)))
c_mp3_data_array_1_wordlin.add(gdstk.Reference(c_mp3_data_array_1_contact____, (8.4075,12.2175)))
c_mp3_data_array_1_wordlin.add(gdstk.Reference(c_mp3_data_array_1_contact_____, (8.4075,12.2175)))
c_mp3_data_array_1_wordlin.add(gdstk.Reference(c_mp3_data_array_1_contact______, (8.405,12.215)))
c_mp3_data_array_1_wordlin.add(gdstk.Reference(c_mp3_data_array_1_contact____, (8.4075,12.2175)))
c_mp3_data_array_1_wordlin.add(gdstk.Reference(c_mp3_data_array_1_contact_____, (8.4075,12.2175)))
c_mp3_data_array_1_wordlin.add(gdstk.Reference(c_mp3_data_array_1_contact______, (8.405,12.215)))
c_mp3_data_array_1_wordlin.add(gdstk.Reference(c_mp3_data_array_1_contact____, (8.4075,14.9475)))
c_mp3_data_array_1_wordlin.add(gdstk.Reference(c_mp3_data_array_1_contact_____, (8.4075,14.9475)))
c_mp3_data_array_1_wordlin.add(gdstk.Reference(c_mp3_data_array_1_contact______, (8.405,14.945)))
c_mp3_data_array_1_wordlin.add(gdstk.Reference(c_mp3_data_array_1_contact____, (8.4075,14.9475)))
c_mp3_data_array_1_wordlin.add(gdstk.Reference(c_mp3_data_array_1_contact_____, (8.4075,14.9475)))
c_mp3_data_array_1_wordlin.add(gdstk.Reference(c_mp3_data_array_1_contact______, (8.405,14.945)))
c_mp3_data_array_1_wordlin.add(gdstk.Reference(c_mp3_data_array_1_contact____, (8.4075,17.6775)))
c_mp3_data_array_1_wordlin.add(gdstk.Reference(c_mp3_data_array_1_contact_____, (8.4075,17.6775)))
c_mp3_data_array_1_wordlin.add(gdstk.Reference(c_mp3_data_array_1_contact______, (8.405,17.675)))
c_mp3_data_array_1_wordlin.add(gdstk.Reference(c_mp3_data_array_1_contact____, (8.4075,17.6775)))
c_mp3_data_array_1_wordlin.add(gdstk.Reference(c_mp3_data_array_1_contact_____, (8.4075,17.6775)))
c_mp3_data_array_1_wordlin.add(gdstk.Reference(c_mp3_data_array_1_contact______, (8.405,17.675)))
c_mp3_data_array_1_wordlin.add(gdstk.Reference(c_mp3_data_array_1_contact____, (8.4075,20.4075)))
c_mp3_data_array_1_wordlin.add(gdstk.Reference(c_mp3_data_array_1_contact_____, (8.4075,20.4075)))
c_mp3_data_array_1_wordlin.add(gdstk.Reference(c_mp3_data_array_1_contact______, (8.405,20.405)))
c_mp3_data_array_1_wordlin.add(gdstk.Reference(c_mp3_data_array_1_contact____, (8.4075,20.4075)))
c_mp3_data_array_1_wordlin.add(gdstk.Reference(c_mp3_data_array_1_contact_____, (8.4075,20.4075)))
c_mp3_data_array_1_wordlin.add(gdstk.Reference(c_mp3_data_array_1_contact______, (8.405,20.405)))
c_mp3_data_array_1_wordlin.add(gdstk.Reference(c_mp3_data_array_1_contact____, (0.4925,-0.0675)))
c_mp3_data_array_1_wordlin.add(gdstk.Reference(c_mp3_data_array_1_contact_____, (0.4925,-0.0675)))
c_mp3_data_array_1_wordlin.add(gdstk.Reference(c_mp3_data_array_1_contact______, (0.49,-0.07)))
c_mp3_data_array_1_wordlin.add(gdstk.Reference(c_mp3_data_array_1_contact____, (0.4925,2.6625)))
c_mp3_data_array_1_wordlin.add(gdstk.Reference(c_mp3_data_array_1_contact_____, (0.4925,2.6625)))
c_mp3_data_array_1_wordlin.add(gdstk.Reference(c_mp3_data_array_1_contact______, (0.49,2.66)))
c_mp3_data_array_1_wordlin.add(gdstk.Reference(c_mp3_data_array_1_contact____, (0.4925,2.6625)))
c_mp3_data_array_1_wordlin.add(gdstk.Reference(c_mp3_data_array_1_contact_____, (0.4925,2.6625)))
c_mp3_data_array_1_wordlin.add(gdstk.Reference(c_mp3_data_array_1_contact______, (0.49,2.66)))
c_mp3_data_array_1_wordlin.add(gdstk.Reference(c_mp3_data_array_1_contact____, (0.4925,5.3925)))
c_mp3_data_array_1_wordlin.add(gdstk.Reference(c_mp3_data_array_1_contact_____, (0.4925,5.3925)))
c_mp3_data_array_1_wordlin.add(gdstk.Reference(c_mp3_data_array_1_contact______, (0.49,5.39)))
c_mp3_data_array_1_wordlin.add(gdstk.Reference(c_mp3_data_array_1_contact____, (0.4925,5.3925)))
c_mp3_data_array_1_wordlin.add(gdstk.Reference(c_mp3_data_array_1_contact_____, (0.4925,5.3925)))
c_mp3_data_array_1_wordlin.add(gdstk.Reference(c_mp3_data_array_1_contact______, (0.49,5.39)))
c_mp3_data_array_1_wordlin.add(gdstk.Reference(c_mp3_data_array_1_contact____, (0.4925,8.1225)))
c_mp3_data_array_1_wordlin.add(gdstk.Reference(c_mp3_data_array_1_contact_____, (0.4925,8.1225)))
c_mp3_data_array_1_wordlin.add(gdstk.Reference(c_mp3_data_array_1_contact______, (0.49,8.12)))
c_mp3_data_array_1_wordlin.add(gdstk.Reference(c_mp3_data_array_1_contact____, (0.4925,8.1225)))
c_mp3_data_array_1_wordlin.add(gdstk.Reference(c_mp3_data_array_1_contact_____, (0.4925,8.1225)))
c_mp3_data_array_1_wordlin.add(gdstk.Reference(c_mp3_data_array_1_contact______, (0.49,8.12)))
c_mp3_data_array_1_wordlin.add(gdstk.Reference(c_mp3_data_array_1_contact____, (0.4925,10.8525)))
c_mp3_data_array_1_wordlin.add(gdstk.Reference(c_mp3_data_array_1_contact_____, (0.4925,10.8525)))
c_mp3_data_array_1_wordlin.add(gdstk.Reference(c_mp3_data_array_1_contact______, (0.49,10.85)))
c_mp3_data_array_1_wordlin.add(gdstk.Reference(c_mp3_data_array_1_contact____, (0.4925,10.8525)))
c_mp3_data_array_1_wordlin.add(gdstk.Reference(c_mp3_data_array_1_contact_____, (0.4925,10.8525)))
c_mp3_data_array_1_wordlin.add(gdstk.Reference(c_mp3_data_array_1_contact______, (0.49,10.85)))
c_mp3_data_array_1_wordlin.add(gdstk.Reference(c_mp3_data_array_1_contact____, (0.4925,13.5825)))
c_mp3_data_array_1_wordlin.add(gdstk.Reference(c_mp3_data_array_1_contact_____, (0.4925,13.5825)))
c_mp3_data_array_1_wordlin.add(gdstk.Reference(c_mp3_data_array_1_contact______, (0.49,13.58)))
c_mp3_data_array_1_wordlin.add(gdstk.Reference(c_mp3_data_array_1_contact____, (0.4925,13.5825)))
c_mp3_data_array_1_wordlin.add(gdstk.Reference(c_mp3_data_array_1_contact_____, (0.4925,13.5825)))
c_mp3_data_array_1_wordlin.add(gdstk.Reference(c_mp3_data_array_1_contact______, (0.49,13.58)))
c_mp3_data_array_1_wordlin.add(gdstk.Reference(c_mp3_data_array_1_contact____, (0.4925,16.3125)))
c_mp3_data_array_1_wordlin.add(gdstk.Reference(c_mp3_data_array_1_contact_____, (0.4925,16.3125)))
c_mp3_data_array_1_wordlin.add(gdstk.Reference(c_mp3_data_array_1_contact______, (0.49,16.31)))
c_mp3_data_array_1_wordlin.add(gdstk.Reference(c_mp3_data_array_1_contact____, (0.4925,16.3125)))
c_mp3_data_array_1_wordlin.add(gdstk.Reference(c_mp3_data_array_1_contact_____, (0.4925,16.3125)))
c_mp3_data_array_1_wordlin.add(gdstk.Reference(c_mp3_data_array_1_contact______, (0.49,16.31)))
c_mp3_data_array_1_wordlin.add(gdstk.Reference(c_mp3_data_array_1_contact____, (0.4925,19.0425)))
c_mp3_data_array_1_wordlin.add(gdstk.Reference(c_mp3_data_array_1_contact_____, (0.4925,19.0425)))
c_mp3_data_array_1_wordlin.add(gdstk.Reference(c_mp3_data_array_1_contact______, (0.49,19.04)))
c_mp3_data_array_1_wordlin.add(gdstk.Reference(c_mp3_data_array_1_contact____, (0.4925,19.0425)))
c_mp3_data_array_1_wordlin.add(gdstk.Reference(c_mp3_data_array_1_contact_____, (0.4925,19.0425)))
c_mp3_data_array_1_wordlin.add(gdstk.Reference(c_mp3_data_array_1_contact______, (0.49,19.04)))
c_mp3_data_array_1_wordlin.add(gdstk.Reference(c_mp3_data_array_1_contact____, (0.4925,21.7725)))
c_mp3_data_array_1_wordlin.add(gdstk.Reference(c_mp3_data_array_1_contact_____, (0.4925,21.7725)))
c_mp3_data_array_1_wordlin.add(gdstk.Reference(c_mp3_data_array_1_contact______, (0.49,21.77)))
c_mp3_data_array_1_wordlin.add(gdstk.Label('en', (1.0075,10.92), layer=13, texttype=0))
c_mp3_data_array_1_wordlin.add(gdstk.Label('in_0', (0.7925,0.4275), layer=11, texttype=0))
c_mp3_data_array_1_wordlin.add(gdstk.Label('wl_0', (4.89,0.6225), layer=11, texttype=0))
c_mp3_data_array_1_wordlin.add(gdstk.Label('in_1', (0.7925,2.3025), layer=11, texttype=0))
c_mp3_data_array_1_wordlin.add(gdstk.Label('wl_1', (4.89,2.1075), layer=11, texttype=0))
c_mp3_data_array_1_wordlin.add(gdstk.Label('in_2', (0.7925,3.1575), layer=11, texttype=0))
c_mp3_data_array_1_wordlin.add(gdstk.Label('wl_2', (4.89,3.3525), layer=11, texttype=0))
c_mp3_data_array_1_wordlin.add(gdstk.Label('in_3', (0.7925,5.0325), layer=11, texttype=0))
c_mp3_data_array_1_wordlin.add(gdstk.Label('wl_3', (4.89,4.8375), layer=11, texttype=0))
c_mp3_data_array_1_wordlin.add(gdstk.Label('in_4', (0.7925,5.8875), layer=11, texttype=0))
c_mp3_data_array_1_wordlin.add(gdstk.Label('wl_4', (4.89,6.0825), layer=11, texttype=0))
c_mp3_data_array_1_wordlin.add(gdstk.Label('in_5', (0.7925,7.7625), layer=11, texttype=0))
c_mp3_data_array_1_wordlin.add(gdstk.Label('wl_5', (4.89,7.5675), layer=11, texttype=0))
c_mp3_data_array_1_wordlin.add(gdstk.Label('in_6', (0.7925,8.6175), layer=11, texttype=0))
c_mp3_data_array_1_wordlin.add(gdstk.Label('wl_6', (4.89,8.8125), layer=11, texttype=0))
c_mp3_data_array_1_wordlin.add(gdstk.Label('in_7', (0.7925,10.4925), layer=11, texttype=0))
c_mp3_data_array_1_wordlin.add(gdstk.Label('wl_7', (4.89,10.2975), layer=11, texttype=0))
c_mp3_data_array_1_wordlin.add(gdstk.Label('in_8', (0.7925,11.3475), layer=11, texttype=0))
c_mp3_data_array_1_wordlin.add(gdstk.Label('wl_8', (4.89,11.5425), layer=11, texttype=0))
c_mp3_data_array_1_wordlin.add(gdstk.Label('in_9', (0.7925,13.2225), layer=11, texttype=0))
c_mp3_data_array_1_wordlin.add(gdstk.Label('wl_9', (4.89,13.0275), layer=11, texttype=0))
c_mp3_data_array_1_wordlin.add(gdstk.Label('in_10', (0.7925,14.0775), layer=11, texttype=0))
c_mp3_data_array_1_wordlin.add(gdstk.Label('wl_10', (4.89,14.2725), layer=11, texttype=0))
c_mp3_data_array_1_wordlin.add(gdstk.Label('in_11', (0.7925,15.9525), layer=11, texttype=0))
c_mp3_data_array_1_wordlin.add(gdstk.Label('wl_11', (4.89,15.7575), layer=11, texttype=0))
c_mp3_data_array_1_wordlin.add(gdstk.Label('in_12', (0.7925,16.8075), layer=11, texttype=0))
c_mp3_data_array_1_wordlin.add(gdstk.Label('wl_12', (4.89,17.0025), layer=11, texttype=0))
c_mp3_data_array_1_wordlin.add(gdstk.Label('in_13', (0.7925,18.6825), layer=11, texttype=0))
c_mp3_data_array_1_wordlin.add(gdstk.Label('wl_13', (4.89,18.4875), layer=11, texttype=0))
c_mp3_data_array_1_wordlin.add(gdstk.Label('in_14', (0.7925,19.5375), layer=11, texttype=0))
c_mp3_data_array_1_wordlin.add(gdstk.Label('wl_14', (4.89,19.7325), layer=11, texttype=0))
c_mp3_data_array_1_wordlin.add(gdstk.Label('in_15', (0.7925,21.4125), layer=11, texttype=0))
c_mp3_data_array_1_wordlin.add(gdstk.Label('wl_15', (4.89,21.2175), layer=11, texttype=0))
c_mp3_data_array_1_wordlin.add(gdstk.Label('vdd', (8.475,10.92), layer=17, texttype=0))
c_mp3_data_array_1_wordlin.add(gdstk.Label('gnd', (0.56,10.92), layer=17, texttype=0))

lib.write_gds('mp3_data_array_1_wordline_driver_array.gds')
